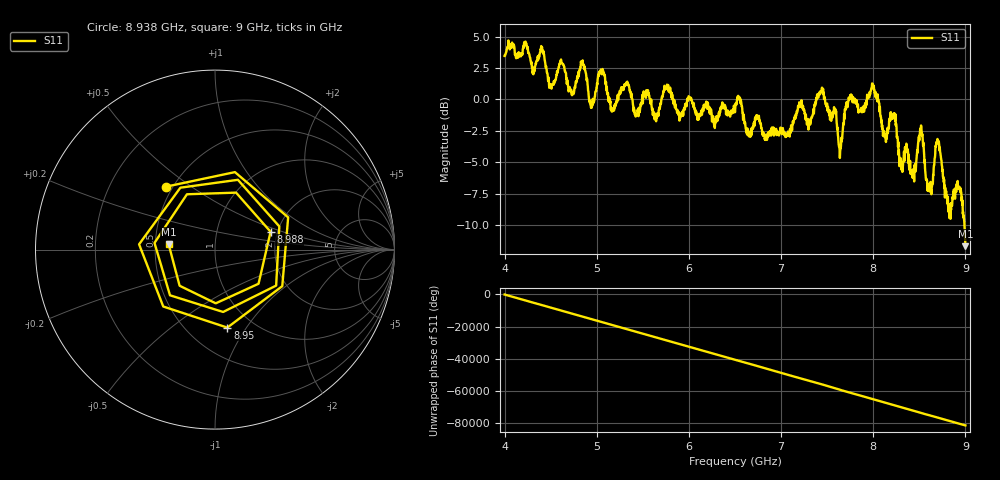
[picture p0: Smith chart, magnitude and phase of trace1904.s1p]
! Created with skrf 1.8.0 (http://scikit-rf.org).
# Hz S RI R 50.0
!freq ReS11 ImS11
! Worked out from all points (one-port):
!   1601 points, 4 GHz to 9 GHz, reference 50 ohm
!   lowest |S11| = -11.7 dB at 9 GHz (marker M1), VSWR 1.71, Z = 29.4 + j1.99 ohm
!   |S11| at or under -10 dB: 8.989578 GHz to end of sweep
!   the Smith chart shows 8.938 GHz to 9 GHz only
!   S11 on the Smith chart (normalised r, x): 8.938 GHz: 0.46, +0.40; 8.95 GHz: 0.76, -0.82; 8.988 GHz: 1.84, +0.41; 9 GHz: 0.59, +0.04
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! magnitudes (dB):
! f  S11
! 4 GHz  3.5
! 4.625 GHz  2.9
! 4.728 GHz  0.4
! 4.853 GHz  2.8
! 4.941 GHz  -0.3
! 5.047 GHz  2.1
! 5.169 GHz  -0.9
! 5.25 GHz  0.7
! 5.875 GHz  -0.8
! 6.5 GHz  -1.0
! 7.125 GHz  -2.0
! 7.438 GHz  0.7
! 7.641 GHz  -4.2
! 7.75 GHz  0.3
! 8 GHz  0.9
! 8.122 GHz  -3.0
! 8.216 GHz  -1.2
! 8.3 GHz  -5.2
! 8.375 GHz  -4.0
! 8.438 GHz  -5.8
! 8.519 GHz  -2.1
! 8.612 GHz  -7.1
! 8.7 GHz  -3.4
! 8.819 GHz  -8.6
! 8.938 GHz  -7.1
! 8.95 GHz  -7.1
! 8.988 GHz  -9.8
! 9 GHz  -11.7
